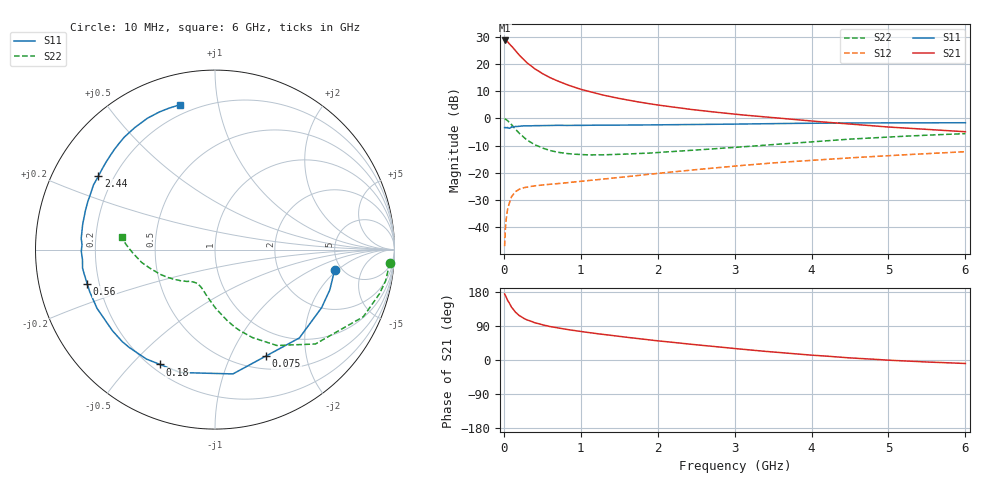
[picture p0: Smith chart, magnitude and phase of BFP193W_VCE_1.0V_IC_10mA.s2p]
! Infineon Technologies  Discrete & RF Semiconductors
! BFP193W
! VCE = 1.0 V,  IC =  10 mA
! Common Emitter S-Parameters:  Jan 2016
# GHz  S  MA  R  50
!  f  S11  S21  S12  S22
! GHz  MAG  ANG  MAG  ANG  MAG  ANG  MAG  ANG
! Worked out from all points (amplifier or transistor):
!   210 points, 10 MHz to 6 GHz, reference 50 ohm
!   highest |S21| = 28.6 dB at 10 MHz (marker M1)
!   |S21| within 3 dB of that: start of sweep to 128.6 MHz
!   unconditionally stable (mu >= 1): 1.216 GHz to 5.483 GHz
!   at 185 MHz: K = 0.22, MSG = 25.0 dB, |S12| = -26.3 dB
!   at 1.52 GHz: K = 1.11, MAG = 12.4 dB, |S12| = -21.6 dB
!   at 6 GHz: K = 0.99, MSG = 3.7 dB, |S12| = -12.3 dB
!   S11 on the Smith chart (normalised r, x): 10 MHz: 4.38, -1.82; 75 MHz: 0.66, -1.37; 180 MHz: 0.23, -0.60; 560 MHz: 0.15, -0.13; 2.44 GHz: 0.14, +0.28; 6 GHz: 0.15, +0.77
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0.01  0.6762 -9.6  26.9 174.4  0.0045 85.1  0.9767 -4.3
0.02  0.6779 -19.3  26.81 170.6  0.0092 80.3  0.9666 -10.3
0.03  0.6764 -28.6  26.49 166.0  0.0139 77.3  0.9492 -15.0
0.05  0.6806 -46.3  25.29 157.1  0.0217 69.5  0.9067 -24.4
0.075  0.6574 -64.3  23.04 148.9  0.0288 59.8  0.8261 -33.0
0.1  0.6998 -81.8  21.34 139.2  0.0364 54.1  0.7679 -43.2
0.15  0.7118 -105.8  17.55 126.2  0.0451 44.0  0.6354 -57.2
0.18  0.7096 -115.6  15.67 121.3  0.0479 40.3  0.572 -62.6
0.2  0.7197 -122.1  14.49 117.3  0.0498 38.1  0.5331 -66.9
0.24  0.7251 -131.3  12.71 112.3  0.0523 34.8  0.4735 -72.8
0.3  0.7285 -141.7  10.49 105.9  0.0548 31.8  0.4008 -80.3
0.4  0.7343 -153.5  8.158 98.4  0.0576 29.1  0.3288 -89.1
0.56  0.7373 -165.0  6.009 90.3  0.0609 29.0  0.2682 -98.7
0.8  0.7405 -175.7  4.245 81.2  0.0654 30.9  0.2276 -108.6
1.02  0.7426 177.3  3.355 74.8  0.07 33.5  0.2159 -115.0
1.4  0.7509 168.0  2.476 64.6  0.0796 37.6  0.2162 -122.5
2.02  0.7604 155.4  1.743 50.2  0.0983 42.1  0.2373 -131.6
2.44  0.7679 147.8  1.454 41.4  0.1122 43.4  0.2592 -138.0
3.1  0.787 136.7  1.156 28.4  0.1366 43.1  0.2998 -148.3
4.1  0.8148 122.1  0.869 11.5  0.1739 39.7  0.3786 -164.3
5.1  0.8271 111.2  0.679 -1.4  0.2099 34.7  0.4619 -178.2
6  0.8304 103.7  0.568 -9.2  0.244 30.1  0.5242 172.6
